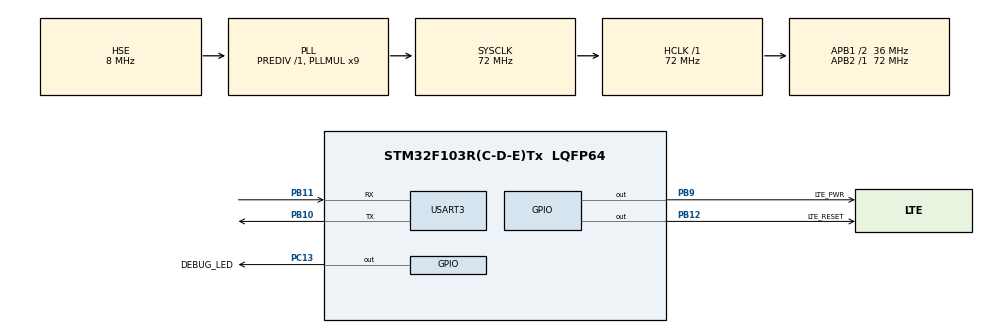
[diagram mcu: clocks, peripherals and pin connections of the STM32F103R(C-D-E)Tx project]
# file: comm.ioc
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Dma.Request0=USART3_RX
Dma.Request1=USART3_TX
Dma.USART3_RX.0.Direction=DMA_PERIPH_TO_MEMORY
Dma.USART3_RX.0.Instance=DMA1_Channel3
Dma.USART3_RX.0.MemDataAlignment=DMA_MDATAALIGN_BYTE
Dma.USART3_RX.0.MemInc=DMA_MINC_ENABLE
Dma.USART3_RX.0.Mode=DMA_NORMAL
Dma.USART3_RX.0.PeriphDataAlignment=DMA_PDATAALIGN_BYTE
Dma.USART3_RX.0.PeriphInc=DMA_PINC_DISABLE
Dma.USART3_RX.0.Priority=DMA_PRIORITY_HIGH
Dma.USART3_TX.1.Direction=DMA_MEMORY_TO_PERIPH
Dma.USART3_TX.1.Instance=DMA1_Channel2
Dma.USART3_TX.1.MemDataAlignment=DMA_MDATAALIGN_BYTE
Dma.USART3_TX.1.MemInc=DMA_MINC_ENABLE
Dma.USART3_TX.1.Mode=DMA_NORMAL
Dma.USART3_TX.1.PeriphDataAlignment=DMA_PDATAALIGN_BYTE
Dma.USART3_TX.1.PeriphInc=DMA_PINC_DISABLE
Dma.USART3_TX.1.Priority=DMA_PRIORITY_HIGH
FREERTOS.Tasks01=defaultTask,0,128,StartDefaultTask,Default,NULL
FREERTOS.configTOTAL_HEAP_SIZE=20480
FREERTOS.configUSE_TIMERS=1
Mcu.Family=STM32F1
Mcu.Name=STM32F103R(C-D-E)Tx
Mcu.Package=LQFP64
NVIC.DMA1_Channel2_IRQn=true\:5\:0\:false\:true\:true\:1\:true\:false
NVIC.DMA1_Channel3_IRQn=true\:5\:0\:false\:true\:true\:2\:true\:false
NVIC.PriorityGroup=NVIC_PRIORITYGROUP_4
NVIC.USART3_IRQn=true\:5\:0\:false\:true\:true\:3\:true\:true
PA13.Mode=JTAG_5_pins
PA13.Signal=SYS_JTMS-SWDIO
PA14.Mode=JTAG_5_pins
PA14.Signal=SYS_JTCK-SWCLK
PA15.Mode=JTAG_5_pins
PA15.Signal=SYS_JTDI
PB10.Mode=Asynchronous
PB10.Signal=USART3_TX
PB11.Mode=Asynchronous
PB11.Signal=USART3_RX
PB12.GPIO_Label=LTE_RESET
PB12.Signal=GPIO_Output
PB3.Mode=JTAG_5_pins
PB3.Signal=SYS_JTDO-TRACESWO
PB4.Mode=JTAG_5_pins
PB4.Signal=SYS_NJTRST
PB9.GPIO_Label=LTE_PWR
PB9.PinState=GPIO_PIN_SET
PB9.Signal=GPIO_Output
PC13-TAMPER-RTC.GPIO_Label=DEBUG_LED
PC13-TAMPER-RTC.Signal=GPIO_Output
PC14-OSC32_IN.Mode=LSE-External-Oscillator
PC14-OSC32_IN.Signal=RCC_OSC32_IN
PC15-OSC32_OUT.Mode=LSE-External-Oscillator
PC15-OSC32_OUT.Signal=RCC_OSC32_OUT
PD0-OSC_IN.Mode=HSE-External-Oscillator
PD0-OSC_IN.Signal=RCC_OSC_IN
PD1-OSC_OUT.Mode=HSE-External-Oscillator
PD1-OSC_OUT.Signal=RCC_OSC_OUT
ProjectManager.HeapSize=0x0
ProjectManager.StackSize=0x1200
ProjectManager.TargetToolchain=MDK-ARM V5
RCC.AHBFreq_Value=72000000
RCC.APB1CLKDivider=RCC_HCLK_DIV2
RCC.APB1Freq_Value=36000000
RCC.APB1TimFreq_Value=72000000
RCC.APB2Freq_Value=72000000
RCC.APB2TimFreq_Value=72000000
RCC.HCLKFreq_Value=72000000
RCC.PLLMUL=RCC_PLL_MUL9
RCC.PLLSourceVirtual=RCC_PLLSOURCE_HSE
RCC.SYSCLKFreq_VALUE=72000000
RCC.SYSCLKSource=RCC_SYSCLKSOURCE_PLLCLK
RCC.USBFreq_Value=72000000
USART3.VirtualMode=VM_ASYNC
VP_FREERTOS_VS_ENABLE.Mode=Enabled
board=comm

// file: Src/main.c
/**
  ******************************************************************************
  * @file           : main.c
  * @brief          : Main program body
  ******************************************************************************
  * This notice applies to any and all portions of this file
  * that are not between comment pairs USER CODE BEGIN and
  * USER CODE END. Other portions of this file, whether
  * inserted by the user or by software development tools
  * are owned by their respective copyright owners.
  *
  * Copyright (c) 2018 STMicroelectronics International N.V.
  * All rights reserved.
  *
  * Redistribution and use in source and binary forms, with or without
  * modification, are permitted, provided that the following conditions are met:
  *
  * 1. Redistribution of source code must retain the above copyright notice,
  *    this list of conditions and the following disclaimer.
  * 2. Redistributions in binary form must reproduce the above copyright notice,
  *    this list of conditions and the following disclaimer in the documentation
  *    and/or other materials provided with the distribution.
  * 3. Neither the name of STMicroelectronics nor the names of other
  *    contributors to this software may be used to endorse or promote products
  *    derived from this software without specific written permission.
  * 4. This software, including modifications and/or derivative works of this
  *    software, must execute solely and exclusively on microcontroller or
  *    microprocessor devices manufactured by or for STMicroelectronics.
  * 5. Redistribution and use of this software other than as permitted under
  *    this license is void and will automatically terminate your rights under
  *    this license.
  *
  * THIS SOFTWARE IS PROVIDED BY STMICROELECTRONICS AND CONTRIBUTORS "AS IS"
  * AND ANY EXPRESS, IMPLIED OR STATUTORY WARRANTIES, INCLUDING, BUT NOT
  * LIMITED TO, THE IMPLIED WARRANTIES OF MERCHANTABILITY, FITNESS FOR A
  * PARTICULAR PURPOSE AND NON-INFRINGEMENT OF THIRD PARTY INTELLECTUAL PROPERTY
  * RIGHTS ARE DISCLAIMED TO THE FULLEST EXTENT PERMITTED BY LAW. IN NO EVENT
  * SHALL STMICROELECTRONICS OR CONTRIBUTORS BE LIABLE FOR ANY DIRECT, INDIRECT,
  * INCIDENTAL, SPECIAL, EXEMPLARY, OR CONSEQUENTIAL DAMAGES (INCLUDING, BUT NOT
  * LIMITED TO, PROCUREMENT OF SUBSTITUTE GOODS OR SERVICES; LOSS OF USE, DATA,
  * OR PROFITS; OR BUSINESS INTERRUPTION) HOWEVER CAUSED AND ON ANY THEORY OF
  * LIABILITY, WHETHER IN CONTRACT, STRICT LIABILITY, OR TORT (INCLUDING
  * NEGLIGENCE OR OTHERWISE) ARISING IN ANY WAY OUT OF THE USE OF THIS SOFTWARE,
  * EVEN IF ADVISED OF THE POSSIBILITY OF SUCH DAMAGE.
  *
  ******************************************************************************
  */
#include "main.h"
#include "stm32f1xx_hal.h"
#include "cmsis_os.h"
#include "dma.h"
#include "usart.h"
#include "gpio.h"

/* USER CODE BEGIN Includes */
#include "cycle_queue.h"
#include "uart_driver.h"
/* USER CODE END Includes */

/* USER CODE BEGIN PV */
/* Private variables ---------------------------------------------------------*/

/* USER CODE END PV */

void SystemClock_Config(void);
void MX_FREERTOS_Init(void);
static void MX_NVIC_Init(void);

/* USER CODE BEGIN PFP */
/* Private function prototypes -----------------------------------------------*/

/* USER CODE END PFP */

int main(void)
{

  /* MCU Configuration----------------------------------------------------------*/

  /* Reset of all peripherals, Initializes the Flash interface and the Systick. */
  HAL_Init();

  /* Configure the system clock */
  SystemClock_Config();

  /* USER CODE BEGIN SysInit */
  InitPeripherals();
  /* USER CODE END SysInit */

  /* Initialize all configured peripherals */
  MX_GPIO_Init();
  MX_DMA_Init();
  MX_USART3_UART_Init();

  /* Initialize interrupts */
  MX_NVIC_Init();

  /* Call init function for freertos objects (in freertos.c) */
  MX_FREERTOS_Init();

  /* Start scheduler */
  osKernelStart();

  /* We should never get here as control is now taken by the scheduler */

  /* Infinite loop */
  while (1)
  {

  }

}

void SystemClock_Config(void)
{

  RCC_OscInitTypeDef RCC_OscInitStruct;
  RCC_ClkInitTypeDef RCC_ClkInitStruct;

    /**Initializes the CPU, AHB and APB busses clocks
    */
  RCC_OscInitStruct.OscillatorType = RCC_OSCILLATORTYPE_HSE;
  RCC_OscInitStruct.HSEState = RCC_HSE_ON;
  RCC_OscInitStruct.HSEPredivValue = RCC_HSE_PREDIV_DIV1;
  RCC_OscInitStruct.HSIState = RCC_HSI_ON;
  RCC_OscInitStruct.PLL.PLLState = RCC_PLL_ON;
  RCC_OscInitStruct.PLL.PLLSource = RCC_PLLSOURCE_HSE;
  RCC_OscInitStruct.PLL.PLLMUL = RCC_PLL_MUL9;
  if (HAL_RCC_OscConfig(&RCC_OscInitStruct) != HAL_OK)
  {
    _Error_Handler(__FILE__, __LINE__);
  }

    /**Initializes the CPU, AHB and APB busses clocks
    */
  RCC_ClkInitStruct.ClockType = RCC_CLOCKTYPE_HCLK|RCC_CLOCKTYPE_SYSCLK
                              |RCC_CLOCKTYPE_PCLK1|RCC_CLOCKTYPE_PCLK2;
  RCC_ClkInitStruct.SYSCLKSource = RCC_SYSCLKSOURCE_PLLCLK;
  RCC_ClkInitStruct.AHBCLKDivider = RCC_SYSCLK_DIV1;
  RCC_ClkInitStruct.APB1CLKDivider = RCC_HCLK_DIV2;
  RCC_ClkInitStruct.APB2CLKDivider = RCC_HCLK_DIV1;

  if (HAL_RCC_ClockConfig(&RCC_ClkInitStruct, FLASH_LATENCY_2) != HAL_OK)
  {
    _Error_Handler(__FILE__, __LINE__);
  }

    /**Configure the Systick interrupt time
    */
  HAL_SYSTICK_Config(HAL_RCC_GetHCLKFreq()/1000);

    /**Configure the Systick
    */
  HAL_SYSTICK_CLKSourceConfig(SYSTICK_CLKSOURCE_HCLK);

  /* SysTick_IRQn interrupt configuration */
  HAL_NVIC_SetPriority(SysTick_IRQn, 15, 0);
}

/**
  * @brief NVIC Configuration.
  * @retval None
  */
static void MX_NVIC_Init(void)
{
  /* DMA1_Channel2_IRQn interrupt configuration */
  HAL_NVIC_SetPriority(DMA1_Channel2_IRQn, 5, 0);
  HAL_NVIC_EnableIRQ(DMA1_Channel2_IRQn);
  /* DMA1_Channel3_IRQn interrupt configuration */
  HAL_NVIC_SetPriority(DMA1_Channel3_IRQn, 5, 0);
  HAL_NVIC_EnableIRQ(DMA1_Channel3_IRQn);
  /* USART3_IRQn interrupt configuration */
  HAL_NVIC_SetPriority(USART3_IRQn, 5, 0);
  HAL_NVIC_EnableIRQ(USART3_IRQn);
}

void _Error_Handler(char *file, int line)
{
  while(1)
  {
  }
}

/************************ (C) COPYRIGHT STMicroelectronics *****END OF FILE****/

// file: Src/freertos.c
/**
  ******************************************************************************
  * File Name          : freertos.c
  * Description        : Code for freertos applications
  ******************************************************************************
  * This notice applies to any and all portions of this file
  * that are not between comment pairs USER CODE BEGIN and
  * USER CODE END. Other portions of this file, whether
  * inserted by the user or by software development tools
  * are owned by their respective copyright owners.
  *
  * Copyright (c) 2018 STMicroelectronics International N.V.
  * All rights reserved.
  *
  * Redistribution and use in source and binary forms, with or without
  * modification, are permitted, provided that the following conditions are met:
  *
  * 1. Redistribution of source code must retain the above copyright notice,
  *    this list of conditions and the following disclaimer.
  * 2. Redistributions in binary form must reproduce the above copyright notice,
  *    this list of conditions and the following disclaimer in the documentation
  *    and/or other materials provided with the distribution.
  * 3. Neither the name of STMicroelectronics nor the names of other
  *    contributors to this software may be used to endorse or promote products
  *    derived from this software without specific written permission.
  * 4. This software, including modifications and/or derivative works of this
  *    software, must execute solely and exclusively on microcontroller or
  *    microprocessor devices manufactured by or for STMicroelectronics.
  * 5. Redistribution and use of this software other than as permitted under
  *    this license is void and will automatically terminate your rights under
  *    this license.
  *
  * THIS SOFTWARE IS PROVIDED BY STMICROELECTRONICS AND CONTRIBUTORS "AS IS"
  * AND ANY EXPRESS, IMPLIED OR STATUTORY WARRANTIES, INCLUDING, BUT NOT
  * LIMITED TO, THE IMPLIED WARRANTIES OF MERCHANTABILITY, FITNESS FOR A
  * PARTICULAR PURPOSE AND NON-INFRINGEMENT OF THIRD PARTY INTELLECTUAL PROPERTY
  * RIGHTS ARE DISCLAIMED TO THE FULLEST EXTENT PERMITTED BY LAW. IN NO EVENT
  * SHALL STMICROELECTRONICS OR CONTRIBUTORS BE LIABLE FOR ANY DIRECT, INDIRECT,
  * INCIDENTAL, SPECIAL, EXEMPLARY, OR CONSEQUENTIAL DAMAGES (INCLUDING, BUT NOT
  * LIMITED TO, PROCUREMENT OF SUBSTITUTE GOODS OR SERVICES; LOSS OF USE, DATA,
  * OR PROFITS; OR BUSINESS INTERRUPTION) HOWEVER CAUSED AND ON ANY THEORY OF
  * LIABILITY, WHETHER IN CONTRACT, STRICT LIABILITY, OR TORT (INCLUDING
  * NEGLIGENCE OR OTHERWISE) ARISING IN ANY WAY OUT OF THE USE OF THIS SOFTWARE,
  * EVEN IF ADVISED OF THE POSSIBILITY OF SUCH DAMAGE.
  *
  ******************************************************************************
  */

#include "FreeRTOS.h"
#include "task.h"
#include "cmsis_os.h"

/* USER CODE BEGIN Includes */
#include "stm32f1xx_hal.h"
#include "mqtt_app.h"
/* USER CODE END Includes */

osThreadId defaultTaskHandle;

void StartDefaultTask(void const * argument);

void MX_FREERTOS_Init(void); /* (MISRA C 2004 rule 8.1) */

/* Hook prototypes */

/* Init FreeRTOS */

void MX_FREERTOS_Init(void) {

  /* Create the thread(s) */
  /* definition and creation of defaultTask */
  osThreadDef(defaultTask, StartDefaultTask, osPriorityNormal, 0, 128);
  defaultTaskHandle = osThreadCreate(osThread(defaultTask), NULL);

}

/* StartDefaultTask function */
void StartDefaultTask(void const * argument)
{

  /* USER CODE BEGIN StartDefaultTask */
  /* Infinite loop */
//  extern void PrintfInit(void);
//  PrintfInit();
  extern void MqttThread( void );
  MqttThread();
  extern void LteThread( void );
  LteThread();
  uint8_t cycleCount = 1;
  for(;;)
  {
    if( cycleCount ++ >= 20 ){
        cycleCount = 1;
        char heap_stack[ 32 ] = { 0 };
        sprintf( heap_stack , "HeapSize:%u - %u", xPortGetFreeHeapSize(), xPortGetMinimumEverFreeHeapSize() );
        extern osThreadId MQTT_TASK_HANDLE;
        extern osThreadId LTE_TASK_HANDLE;

        int32_t mqtt_stack = uxTaskGetStackHighWaterMark( MQTT_TASK_HANDLE );
        int32_t lte_stack = uxTaskGetStackHighWaterMark( LTE_TASK_HANDLE );
        int32_t default_stack = uxTaskGetStackHighWaterMark( defaultTaskHandle );

        char task_stack[ 64 ] = { 0 };

        sprintf( task_stack, "mqtt:%d--lte:%d--default:%d", mqtt_stack, lte_stack, default_stack );
        MqttPublish( "UP", ( uint8_t *)task_stack, strlen( (char *)task_stack ), MQTT_SEND_UNCONFIRM );
        MqttPublish( "UP", ( uint8_t *)heap_stack, strlen( (char *)heap_stack ), MQTT_SEND_UNCONFIRM );

        printf( "HeapSize:%u - %u\r\n", xPortGetFreeHeapSize(), xPortGetMinimumEverFreeHeapSize() );
    }
    HAL_GPIO_WritePin(DEBUG_LED_GPIO_Port, DEBUG_LED_Pin, GPIO_PIN_RESET);
    osDelay(50);
    HAL_GPIO_WritePin(DEBUG_LED_GPIO_Port, DEBUG_LED_Pin, GPIO_PIN_SET);
    osDelay( 500 );
  }
  /* USER CODE END StartDefaultTask */
}

/************************ (C) COPYRIGHT STMicroelectronics *****END OF FILE****/
